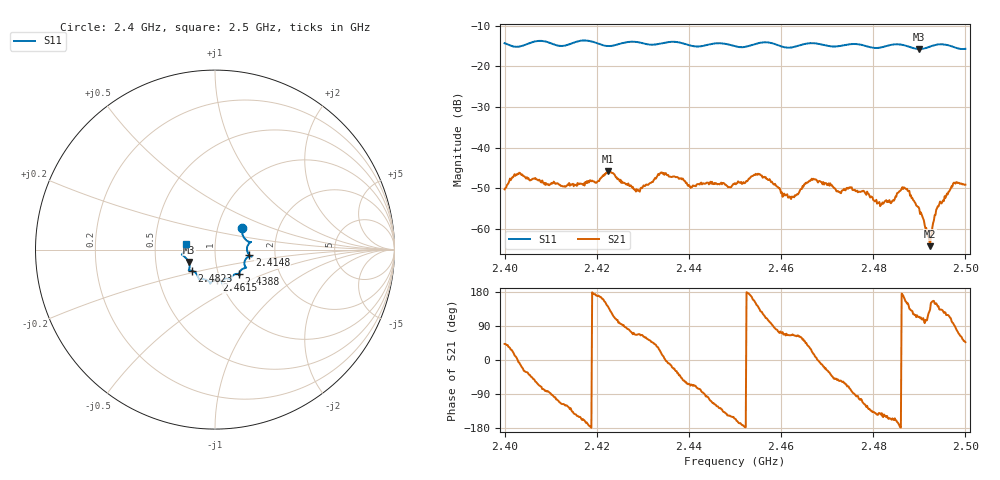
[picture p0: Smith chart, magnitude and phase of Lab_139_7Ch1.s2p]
# Hz S RI R 50
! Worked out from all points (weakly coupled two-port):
!   601 points, 2.4 GHz to 2.5 GHz, reference 50 ohm
!   highest |S21| = -45.76 dB at 2.4225 GHz (marker M1); lowest = -64.2 dB at 2.4923 GHz (marker M2)
!   lowest |S11| = -15.8 dB at 2.49 GHz (marker M3), VSWR 1.39, Z = 36.8 - j5.26 ohm
!   |S11| at or under -10 dB: start of sweep to end of sweep
!   S12 and S22 are empty: the file has one direction only
!   S11 on the Smith chart (normalised r, x): 2.4 GHz: 1.31, +0.32; 2.4148 GHz: 1.47, -0.10; 2.4388 GHz: 1.25, -0.36; 2.4615 GHz: 0.97, -0.34; 2.4823 GHz: 0.75, -0.18; 2.5 GHz: 0.72, +0.04
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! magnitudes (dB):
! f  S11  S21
! 2.4 GHz  -14.3  -50.2
! 2.403 GHz  -15.2  -46.5
! 2.4093 GHz  -14.0  -49.0
! 2.4148 GHz  -14.3  -48.9
! 2.4167 GHz  -13.7  -48.9
! 2.4225 GHz  -15.0  -45.8
! 2.4288 GHz  -14.0  -50.5
! 2.4333 GHz  -14.5  -46.5
! 2.4388 GHz  -14.4  -47.9
! 2.4403 GHz  -14.9  -49.9
! 2.45 GHz  -15.1  -48.7
! 2.455 GHz  -14.3  -46.4
! 2.4615 GHz  -15.4  -52.2
! 2.4667 GHz  -14.3  -47.6
! 2.4823 GHz  -15.2  -53.5
! 2.4833 GHz  -14.9  -53.3
! 2.4868 GHz  -14.9  -49.9
! 2.49 GHz  -15.8  -55.1
! 2.4923 GHz  -15.2  -64.2
! 2.4942 GHz  -14.6  -54.4
! 2.4975 GHz  -15.3  -48.6
! 2.5 GHz  -15.7  -49.1
